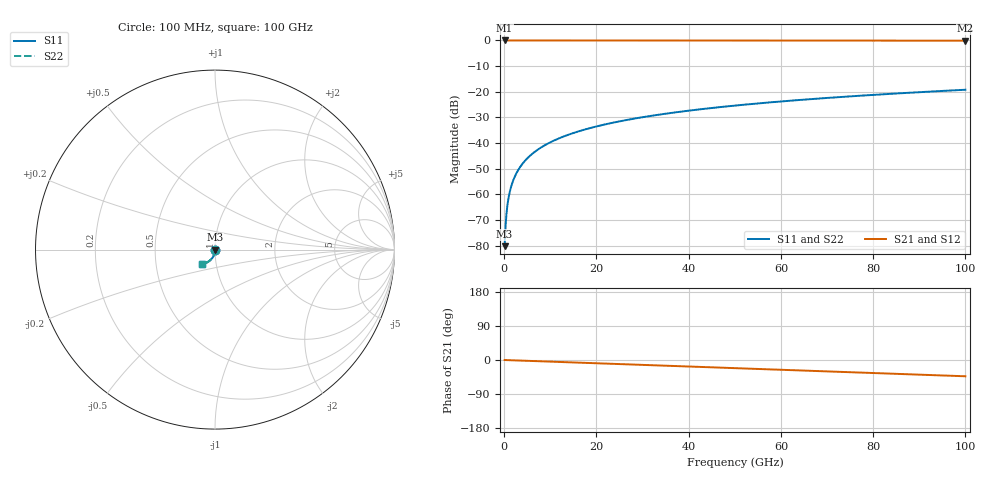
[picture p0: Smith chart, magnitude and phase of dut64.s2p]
! Touchstone file exported from HFSS 2026.1.0
!  File:  C:/ffzhzh/LocalFiles/Ansys_Project_Files/temp_train_TSV_64_1783505167_31944.aedt
!  Generated:  06:07:23 PM Jul  8, 2026
!  Design:  TSV
!  Project:  temp_train_TSV_64_1783505167_31944
! Variables:
!  h_bsmrdl = 2um
!  h_ox = 20um
!  h_rdl = 5um
!  h_sub = 85.34um
!  h_tmrdl = 5um
!  h_tsv = 85.34um
!  h_via = 3um
!  l_bsmrdl = 300um
!  l_sub = 429.72um
!  l_tmrdl = 200um
!  m_sub = 200um
!  pitch = 51.77um
!  r_tsv = 14.86um
!  s_tmrdl = 10um
!  w_bsmrdl = 18um
!  w_sub = 500um
!  w_tmrdl = 12um
!  x_tsv_center1 = 206um
!  x_tsv_center2 = 524um
!  x_tsv_center3 = 736um
!  x_tsv_center4 = 1054um
!  x_tsv_center5 = 1266um
!  x_tsv_center6 = 1584um
# GHz S MA R 50.000000
! Terminal data exported
! Port[1] = TSV1_1_T1
! Port[2] = TSV1_1_T2
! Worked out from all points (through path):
!   1000 points, 100 MHz to 100 GHz, reference 50 ohm
!   highest |S21| = 0.00 dB at 100 MHz (marker M1); lowest = -0.1 dB at 100 GHz (marker M2)
!   group delay of S21, straight-line fit = 1.19 ps
!   lowest |S11| = -80.2 dB at 100 MHz (marker M3), VSWR 1.00, Z = 50 - j0.00614 ohm
!   |S11| at or under -10 dB: start of sweep to end of sweep
!   |S22| runs from -80.2 to -19.2 dB; largest |S21 - S12| = 3.4e-15
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0.1  9.796e-05 -38.8  0.9999 -0.0  0.9999 -0.0  9.796e-05 -38.8
! Gamma 0 0 0 0
! Port Impedance 50 0 50 0
0.4  0.0003214 -64.5  0.9999 -0.2  0.9999 -0.2  0.0003214 -64.5
0.8  0.0007048 -72.8  0.9998 -0.4  0.9998 -0.4  0.0007048 -72.8
1.1  0.001003 -76.2  0.9998 -0.5  0.9998 -0.5  0.001003 -76.2
1.4  0.001303 -78.4  0.9997 -0.6  0.9997 -0.6  0.001303 -78.4
1.8  0.001706 -80.3  0.9997 -0.8  0.9997 -0.8  0.001706 -80.3
2.4  0.002316 -82.2  0.9996 -1.0  0.9996 -1.0  0.002316 -82.2
3  0.002934 -83.4  0.9996 -1.3  0.9996 -1.3  0.002934 -83.4
3.8  0.003766 -84.7  0.9995 -1.6  0.9995 -1.6  0.003766 -84.7
4.8  0.004816 -86.0  0.9995 -2.1  0.9995 -2.1  0.004816 -86.0
5.9  0.005978 -87.1  0.9994 -2.5  0.9994 -2.5  0.005978 -87.1
7.2  0.007355 -88.2  0.9993 -3.1  0.9993 -3.1  0.007355 -88.2
8.7  0.00895 -89.3  0.9993 -3.7  0.9993 -3.7  0.00895 -89.3
12.3  0.0128 -91.6  0.9991 -5.3  0.9991 -5.3  0.0128 -91.6
16.8  0.01764 -94.1  0.9989 -7.2  0.9989 -7.2  0.01764 -94.1
24.1  0.02553 -97.7  0.9985 -10.3  0.9985 -10.3  0.02553 -97.7
33.4  0.03563 -102.1  0.998 -14.3  0.998 -14.3  0.03563 -102.1
41.2  0.04413 -105.7  0.9975 -17.7  0.9975 -17.7  0.04413 -105.7
50.1  0.05387 -109.7  0.9968 -21.5  0.9968 -21.5  0.05387 -109.7
66.7  0.07215 -117.1  0.9953 -28.6  0.9953 -28.6  0.07215 -117.2
83.4  0.09074 -124.6  0.9934 -35.8  0.9934 -35.8  0.09074 -124.6
100  0.1095 -132.0  0.991 -42.9  0.991 -42.9  0.1095 -132.0
